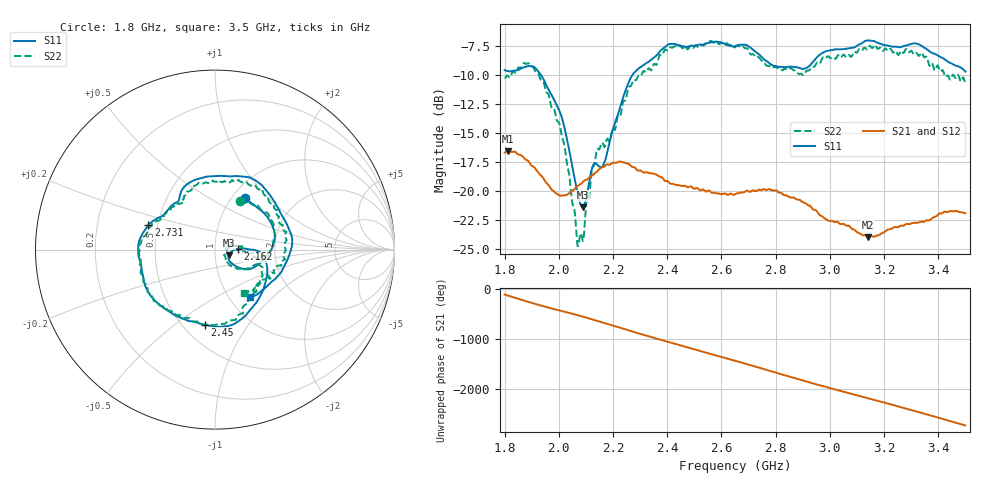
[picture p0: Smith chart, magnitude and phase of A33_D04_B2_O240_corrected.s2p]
! Created with skrf 1.9.0 (http://scikit-rf.org).
# Hz S RI R 50.0
!freq ReS11 ImS11 ReS21 ImS21 ReS12 ImS12 ReS22 ImS22
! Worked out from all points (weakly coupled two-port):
!   1601 points, 1.8 GHz to 3.5 GHz, reference 50 ohm
!   highest |S21| = -16.56 dB at 1.813 GHz (marker M1); lowest = -23.9 dB at 3.142 GHz (marker M2)
!   lowest |S11| = -21.4 dB at 2.089 GHz (marker M3), VSWR 1.19, Z = 58.6 - j3.63 ohm
!   |S11| at or under -10 dB: 1.935 GHz to 2.271 GHz (336.3 MHz wide, 16 % of centre)
!   |S22| runs from -24.7 to -7.0 dB; largest |S21 - S12| = 0.0024
!   S11 on the Smith chart (normalised r, x): 1.8 GHz: 1.14, +0.74; 2.162 GHz: 1.30, +0.00; 2.45 GHz: 0.64, -0.65; 2.731 GHz: 0.44, +0.14; 3.5 GHz: 1.25, -0.73
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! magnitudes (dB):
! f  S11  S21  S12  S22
! 1.8 GHz  -9.6  -16.7  -16.7  -10.3
! 1.813 GHz  -9.7  -16.6  -16.5  -10.1
! 1.883 GHz  -9.2  -17.3  -17.3  -9.0
! 1.942 GHz  -10.3  -18.9  -18.8  -10.5
! 2.008 GHz  -13.4  -20.4  -20.3  -14.9
! 2.068 GHz  -20.0  -19.6  -19.6  -24.4
! 2.084 GHz  -21.3  -19.3  -19.3  -23.8
! 2.089 GHz  -21.4  -19.2  -19.2  -24.3
! 2.128 GHz  -17.7  -18.5  -18.5  -17.8
! 2.162 GHz  -17.8  -17.9  -17.8  -15.9
! 2.19 GHz  -15.5  -17.7  -17.7  -15.5
! 2.264 GHz  -10.3  -17.8  -17.8  -11.0
! 2.367 GHz  -8.1  -18.7  -18.6  -8.6
! 2.45 GHz  -7.5  -19.5  -19.5  -7.5
! 2.65 GHz  -7.5  -20.3  -20.2  -7.6
! 2.731 GHz  -8.1  -20.0  -20.0  -8.4
! 2.803 GHz  -9.2  -19.9  -20.0  -9.4
! 2.934 GHz  -9.0  -21.4  -21.4  -9.3
! 3.142 GHz  -7.0  -23.9  -23.8  -7.6
! 3.217 GHz  -7.5  -23.3  -23.2  -7.8
! 3.324 GHz  -7.3  -22.7  -22.7  -8.2
! 3.5 GHz  -9.7  -21.9  -21.9  -10.8
